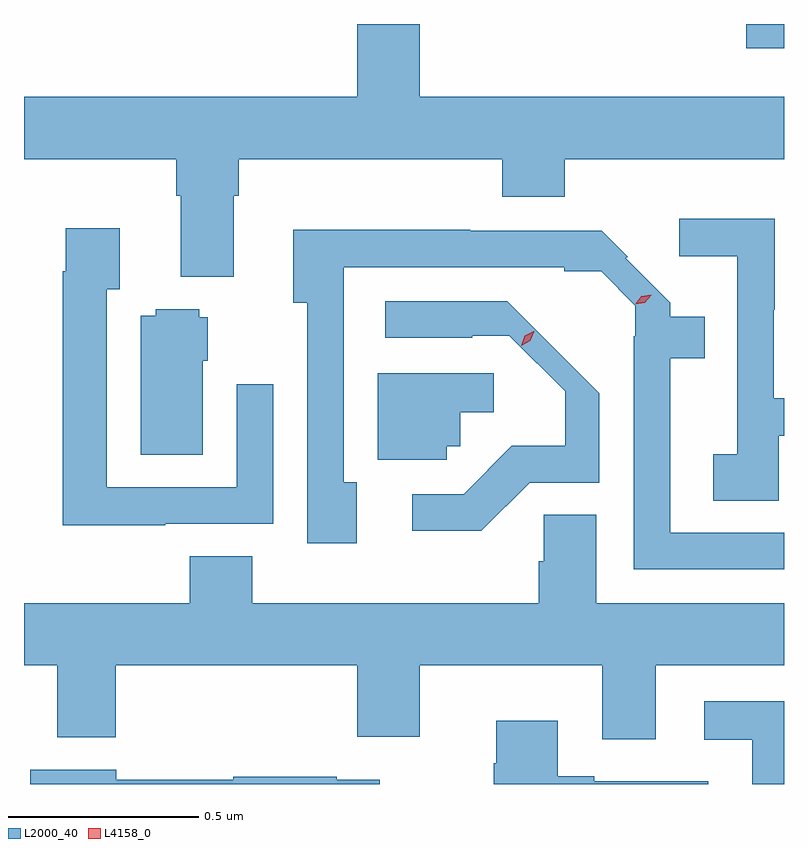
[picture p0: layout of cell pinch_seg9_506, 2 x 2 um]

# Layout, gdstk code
import gdstk
lib = gdstk.Library(unit=1e-6, precision=1e-09)
def R(c, l, rs):  # rectangles x0, y0, x1, y1
    for r in rs: c.add(gdstk.rectangle(r[:2], r[2:], *l))
def P(c, l, *ps):  # polygons
    for p in ps: c.add(gdstk.Polygon(p, *l))
L2000_40 = (2000, 40)
L4158_0 = (4158, 0)

pinch_seg9_506 = lib.new_cell('pinch_seg9_506')
R(pinch_seg9_506, L2000_40, [(381.815,1204.704,381.915,1204.768)])
P(pinch_seg9_506, L2000_40, [(380.467,1204.316),(380.48,1204.316),(380.48,1204.412),(381.173,1204.412),(381.173,1204.313),(381.338,1204.313),(381.338,1204.412),(381.915,1204.412),(381.915,1204.576),(380.956,1204.576),(380.956,1204.768),(380.792,1204.768),(380.792,1204.576),(379.915,1204.576),(379.915,1204.412),(380.315,1204.412),(380.315,1204.316),(380.327,1204.316),(380.327,1204.103),(380.467,1204.103)],
  [(381.901,1203.685),(381.915,1203.685),(381.915,1203.783),(381.888,1203.783),(381.888,1204.016),(381.891,1204.016),(381.891,1204.255),(381.639,1204.255),(381.639,1204.157),(381.792,1204.157),(381.792,1203.636),(381.729,1203.636),(381.729,1203.514),(381.901,1203.514)],
  [(380.287,1203.453),(380.571,1203.453),(380.571,1203.82),(380.475,1203.82),(380.475,1203.549),(380.133,1203.549),(380.133,1204.07),(380.167,1204.07),(380.167,1204.231),(380.025,1204.231),(380.025,1204.118),(380.017,1204.118),(380.017,1203.449),(380.287,1203.449)],
  [(381.915,1203.429),(381.616,1203.429),(381.616,1203.888),(381.707,1203.888),(381.707,1203.997),(381.615,1203.997),(381.615,1204.035),(381.499,1204.151),(381.504,1204.155),(381.435,1204.224),(381.089,1204.224),(381.089,1204.226),(380.624,1204.226),(380.624,1204.034),(380.661,1204.034),(380.661,1203.402),(380.791,1203.402),(380.791,1203.562),(380.757,1203.562),(380.757,1204.128),(381.337,1204.128),(381.337,1204.118),(381.434,1204.118),(381.524,1204.027),(381.524,1203.946),(381.519,1203.946),(381.519,1203.333),(381.915,1203.333)],
  [(381.246,1203.561),(381.429,1203.561),(381.429,1203.796),(381.187,1204.038),(380.865,1204.038),(380.865,1203.942),(381.095,1203.942),(381.095,1203.948),(381.192,1203.948),(381.339,1203.801),(381.339,1203.658),(381.199,1203.658),(381.072,1203.531),(380.937,1203.531),(380.937,1203.434),(381.118,1203.434)],
  [(380.386,1203.882),(380.398,1203.882),(380.398,1203.996),(380.376,1203.996),(380.376,1204.018),(380.262,1204.018),(380.262,1204),(380.222,1204),(380.222,1203.634),(380.386,1203.634)],
  [(381.027,1203.657),(381.063,1203.657),(381.063,1203.746),(381.151,1203.746),(381.151,1203.849),(380.846,1203.849),(380.846,1203.621),(381.027,1203.621)],
  [(381.577,1203.08),(381.915,1203.08),(381.915,1203.244),(381.421,1203.244),(381.421,1203.476),(381.283,1203.476),(381.283,1203.354),(381.269,1203.354),(381.269,1203.244),(380.516,1203.244),(380.516,1203.368),(380.351,1203.368),(380.351,1203.244),(379.915,1203.244),(379.915,1203.08),(380.003,1203.08),(380.003,1202.891),(380.156,1202.891),(380.156,1203.08),(380.792,1203.08),(380.792,1202.892),(380.956,1202.892),(380.956,1203.08),(381.437,1203.08),(381.437,1202.886),(381.577,1202.886)],
  [(381.915,1202.986),(381.705,1202.986),(381.705,1202.885),(381.832,1202.885),(381.832,1202.768),(381.915,1202.768)],
  [(381.715,1202.775),(381.415,1202.775),(381.415,1202.788),(381.319,1202.788),(381.319,1202.935),(381.158,1202.935),(381.158,1202.822),(381.151,1202.822),(381.151,1202.768),(381.715,1202.768)],
  [(380.851,1202.779),(380.738,1202.779),(380.738,1202.787),(380.466,1202.787),(380.466,1202.779),(380.158,1202.779),(380.158,1202.806),(379.931,1202.806),(379.931,1202.768),(380.851,1202.768)])
P(pinch_seg9_506, L4158_0, [(381.523,1204.03),(381.523,1204.03),(381.523,1204.031),(381.539,1204.051),(381.565,1204.055),(381.565,1204.054),(381.565,1204.054),(381.549,1204.034)],
  [(381.223,1203.921),(381.223,1203.921),(381.233,1203.947),(381.257,1203.959),(381.258,1203.959),(381.258,1203.959),(381.247,1203.934),(381.223,1203.921)])

lib.write_gds('pinch_seg9_506.gds')
